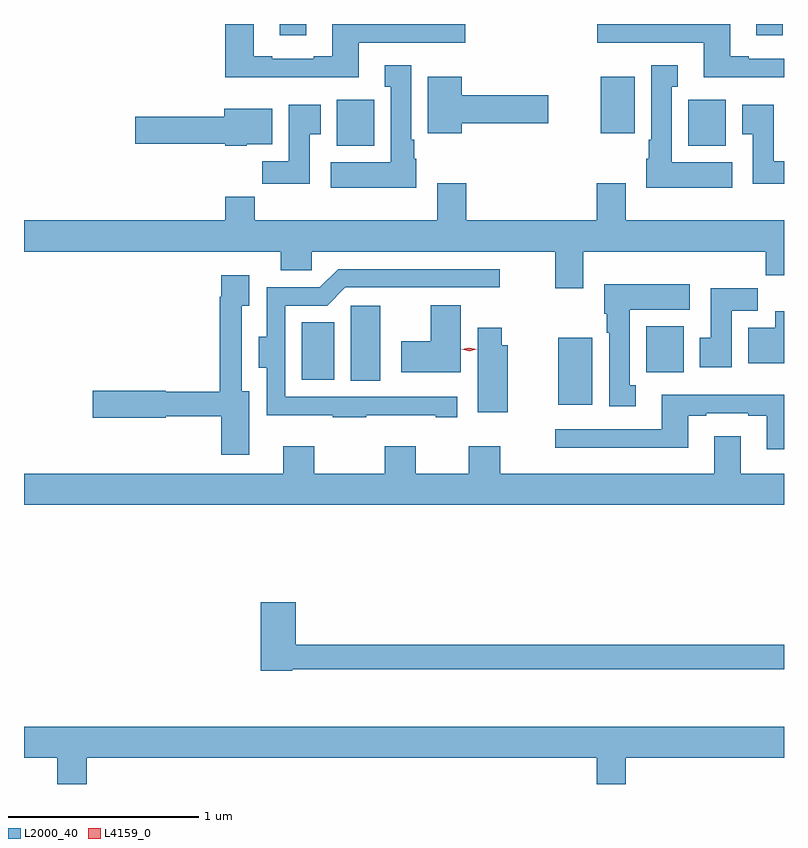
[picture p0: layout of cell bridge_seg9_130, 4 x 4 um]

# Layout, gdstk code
import gdstk
lib = gdstk.Library(unit=1e-6, precision=1e-09)
def R(c, l, rs):  # rectangles x0, y0, x1, y1
    for r in rs: c.add(gdstk.rectangle(r[:2], r[2:], *l))
def P(c, l, *ps):  # polygons
    for p in ps: c.add(gdstk.Polygon(p, *l))
L2000_40 = (2000, 40)
L4159_0 = (4159, 0)

bridge_seg9_130 = lib.new_cell('bridge_seg9_130')
R(bridge_seg9_130, L2000_40, [(426.638,1204.938,426.817,1205.29), (425.546,1205.065,425.701,1205.46), (425.288,1205.069,425.458,1205.371), (427.1,1205.108,427.297,1205.35), (425.471,1206.302,425.668,1206.544), (427.322,1206.302,427.519,1206.544), (426.86,1206.368,427.039,1206.664), (425.171,1206.882,425.311,1206.942), (427.679,1206.882,427.819,1206.942)])
P(bridge_seg9_130, L2000_40, [(425.587,1206.843),(426.148,1206.843),(426.148,1206.94),(425.447,1206.94),(425.447,1206.772),(425.351,1206.772),(425.351,1206.759),(425.131,1206.759),(425.131,1206.772),(425.035,1206.772),(425.035,1206.942),(424.883,1206.942),(424.883,1206.662),(425.587,1206.662)],
  [(427.825,1206.759),(427.639,1206.759),(427.639,1206.772),(427.543,1206.772),(427.543,1206.94),(426.843,1206.94),(426.843,1206.843),(427.403,1206.843),(427.403,1206.662),(427.825,1206.662)],
  [(425.89,1206.234),(425.878,1206.234),(425.878,1206.334),(425.863,1206.334),(425.863,1206.724),(425.723,1206.724),(425.723,1206.611),(425.756,1206.611),(425.756,1206.214),(425.439,1206.214),(425.439,1206.08),(425.89,1206.08)],
  [(427.552,1206.214),(427.234,1206.214),(427.234,1206.611),(427.267,1206.611),(427.267,1206.724),(427.127,1206.724),(427.127,1206.334),(427.112,1206.334),(427.112,1206.234),(427.1,1206.234),(427.1,1206.08),(427.552,1206.08)],
  [(426.13,1206.419),(426.583,1206.419),(426.583,1206.566),(426.13,1206.566),(426.13,1206.664),(425.951,1206.664),(425.951,1206.368),(426.13,1206.368)],
  [(425.329,1206.361),(425.386,1206.361),(425.386,1206.517),(425.219,1206.517),(425.219,1206.22),(425.08,1206.22),(425.08,1206.102),(425.329,1206.102)],
  [(427.825,1206.22),(427.771,1206.22),(427.771,1206.517),(427.604,1206.517),(427.604,1206.361),(427.661,1206.361),(427.661,1206.102),(427.825,1206.102)],
  [(424.998,1206.308),(425.131,1206.308),(425.131,1206.496),(424.88,1206.496),(424.88,1206.455),(424.41,1206.455),(424.41,1206.313),(424.884,1206.313),(424.884,1206.302),(424.998,1206.302)],
  [(426.991,1206.103),(426.839,1206.103),(426.839,1205.908),(426.152,1205.908),(426.152,1206.103),(425.999,1206.103),(425.999,1205.908),(425.039,1205.908),(425.039,1206.032),(424.883,1206.032),(424.883,1205.908),(423.825,1205.908),(423.825,1205.744),(425.177,1205.744),(425.177,1205.646),(425.34,1205.646),(425.34,1205.744),(426.622,1205.744),(426.622,1205.55),(426.769,1205.55),(426.769,1205.744),(427.729,1205.744),(427.729,1205.62),(427.825,1205.62),(427.825,1205.908),(426.991,1205.908)],
  [(425.627,1204.883),(425.993,1204.883),(425.993,1204.872),(426.106,1204.872),(426.106,1204.98),(425.199,1204.98),(425.199,1205.46),(425.421,1205.46),(425.517,1205.556),(426.328,1205.556),(426.328,1205.652),(425.478,1205.652),(425.382,1205.556),(425.102,1205.556),(425.102,1205.296),(425.06,1205.296),(425.06,1205.132),(425.103,1205.132),(425.103,1204.883),(425.449,1204.883),(425.449,1204.872),(425.627,1204.872)],
  [(425.011,1205.008),(424.971,1205.008),(424.971,1205.459),(425.011,1205.459),(425.011,1205.62),(424.863,1205.62),(424.863,1205.507),(424.855,1205.507),(424.855,1205.006),(424.572,1205.006),(424.572,1205.012),(424.188,1205.012),(424.188,1204.87),(424.572,1204.87),(424.572,1204.878),(424.862,1204.878),(424.862,1204.674),(425.011,1204.674)],
  [(427.045,1205.042),(427.012,1205.042),(427.012,1205.438),(427.33,1205.438),(427.33,1205.572),(426.878,1205.572),(426.878,1205.418),(426.892,1205.418),(426.892,1205.318),(426.905,1205.318),(426.905,1204.929),(427.045,1204.929)],
  [(427.549,1205.432),(427.688,1205.432),(427.688,1205.551),(427.439,1205.551),(427.439,1205.292),(427.382,1205.292),(427.382,1205.136),(427.549,1205.136)],
  [(426.124,1205.461),(425.966,1205.461),(425.966,1205.272),(425.811,1205.272),(425.811,1205.108),(426.124,1205.108)],
  [(427.825,1205.431),(427.778,1205.431),(427.778,1205.344),(427.637,1205.344),(427.637,1205.156),(427.825,1205.156)],
  [(426.37,1205.251),(426.34,1205.251),(426.34,1205.344),(426.212,1205.344),(426.212,1204.899),(426.37,1204.899)],
  [(427.825,1204.99),(427.181,1204.99),(427.181,1204.809),(426.621,1204.809),(426.621,1204.712),(427.321,1204.712),(427.321,1204.881),(427.417,1204.881),(427.417,1204.893),(427.637,1204.893),(427.637,1204.881),(427.733,1204.881),(427.733,1204.704),(427.825,1204.704)],
  [(427.825,1204.576),(427.597,1204.576),(427.597,1204.771),(427.457,1204.771),(427.457,1204.576),(426.331,1204.576),(426.331,1204.72),(426.167,1204.72),(426.167,1204.576),(425.887,1204.576),(425.887,1204.72),(425.723,1204.72),(425.723,1204.576),(425.353,1204.576),(425.353,1204.72),(425.189,1204.72),(425.189,1204.576),(423.825,1204.576),(423.825,1204.412),(427.825,1204.412)],
  [(425.238,1203.546),(427.825,1203.546),(427.825,1203.674),(425.255,1203.674),(425.255,1203.898),(425.072,1203.898),(425.072,1203.538),(425.238,1203.538)],
  [(424.154,1203.08),(426.839,1203.08),(426.839,1202.942),(426.991,1202.942),(426.991,1203.08),(427.825,1203.08),(427.825,1203.244),(423.825,1203.244),(423.825,1203.08),(424.001,1203.08),(424.001,1202.942),(424.154,1202.942)])
P(bridge_seg9_130, L4159_0, [(426.168,1205.219),(426.128,1205.229),(426.128,1205.229),(426.128,1205.23),(426.168,1205.239),(426.209,1205.229),(426.209,1205.229),(426.209,1205.229)])

lib.write_gds('bridge_seg9_130.gds')
